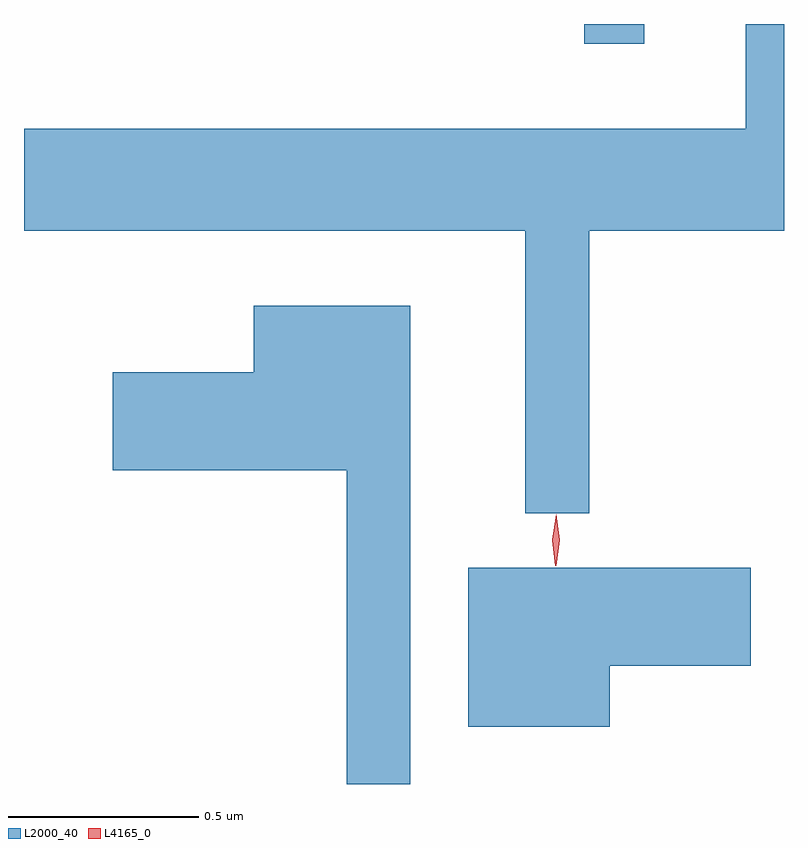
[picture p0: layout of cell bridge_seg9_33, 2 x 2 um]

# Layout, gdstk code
import gdstk
lib = gdstk.Library(unit=1e-6, precision=1e-09)
def R(c, l, rs):  # rectangles x0, y0, x1, y1
    for r in rs: c.add(gdstk.rectangle(r[:2], r[2:], *l))
def P(c, l, *ps):  # polygons
    for p in ps: c.add(gdstk.Polygon(p, *l))
L2000_40 = (2000, 40)
L4165_0 = (4165, 0)

bridge_seg9_33 = lib.new_cell('bridge_seg9_33')
R(bridge_seg9_33, L2000_40, [(1596.266,2047.808,1596.424,2047.86)])
P(bridge_seg9_33, L2000_40, [(1596.279,2047.316),(1596.792,2047.316),(1596.792,2047.86),(1596.691,2047.86),(1596.691,2047.584),(1594.792,2047.584),(1594.792,2047.316),(1596.111,2047.316),(1596.111,2046.573),(1596.279,2046.573)],
  [(1595.809,2047.119),(1595.396,2047.119),(1595.396,2046.944),(1595.026,2046.944),(1595.026,2046.686),(1595.641,2046.686),(1595.641,2045.86),(1595.809,2045.86)],
  [(1596.334,2046.171),(1596.704,2046.171),(1596.704,2046.429),(1595.961,2046.429),(1595.961,2046.011),(1596.334,2046.011)])
P(bridge_seg9_33, L4165_0, [(1596.19,2046.434),(1596.182,2046.502),(1596.192,2046.57),(1596.192,2046.57),(1596.193,2046.57),(1596.202,2046.502),(1596.192,2046.434),(1596.191,2046.434)],
  [(1596.19,2046.44),(1596.19,2046.441),(1596.182,2046.504),(1596.192,2046.566),(1596.192,2046.567),(1596.193,2046.566),(1596.202,2046.503),(1596.191,2046.441)])

lib.write_gds('bridge_seg9_33.gds')
